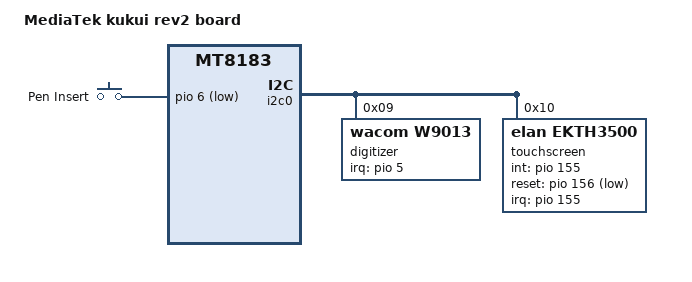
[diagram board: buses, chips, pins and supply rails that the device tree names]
// SPDX-License-Identifier: (GPL-2.0 OR MIT)
/*
 * Copyright (c) 2018 Google LLC
 */

/dts-v1/;
#include "mt8183-kukui.dtsi"

/ {
	model = "MediaTek kukui rev2 board";
	compatible = "google,kukui-rev2", "google,kukui", "mediatek,mt8183";

	gpio-keys {
		compatible = "gpio-keys";
		pinctrl-names = "default";
		pinctrl-0 = <&pen_eject>;

		pen-insert {
			label = "Pen Insert";
			/* Insert = low, eject = high */
			gpios = <&pio 6 GPIO_ACTIVE_LOW>;
			linux,code = <SW_PEN_INSERTED>;
			linux,input-type = <EV_SW>;
			wakeup-source;
		};
	};
};

&i2c0 {
	digitizer: digitizer@9 {
		compatible = "wacom,w9013", "hid-over-i2c";
		reg = <0x9>;
		pinctrl-names = "default";
		pinctrl-0 = <&pen_default>;

		interrupt-parent = <&pio>;
		interrupts = <5 IRQ_TYPE_LEVEL_LOW>;

		hid-descr-addr = <0x1>;
	};

	touchscreen: touchscreen@10 {
		compatible = "elan,ekth3500";
		reg = <0x10>;
		interrupt-parent = <&pio>;
		interrupts = <155 IRQ_TYPE_LEVEL_LOW>;
		int-gpio = <&pio 155 0>;
		pinctrl-names = "default";
		pinctrl-0 = <&touch_default>;

		reset-gpios = <&pio 156 1>;
	};
};

&pio {
	/* 192 lines */
	gpio-line-names =
		"SPI_AP_EC_CS_L",
		"SPI_AP_EC_MOSI",
		"SPI_AP_EC_CLK",
		"I2S3_DO",
		"USB_PD_INT_ODL",
		"",
		"",
		"",
		"",
		"IT6505_HPD_L",
		"I2S3_TDM_D3",
		"SOC_I2C6_1V8_SCL",
		"SOC_I2C6_1V8_SDA",
		"DPI_D0",
		"DPI_D1",
		"DPI_D2",
		"DPI_D3",
		"DPI_D4",
		"DPI_D5",
		"DPI_D6",
		"DPI_D7",
		"DPI_D8",
		"DPI_D9",
		"DPI_D10",
		"DPI_D11",
		"DPI_HSYNC",
		"DPI_VSYNC",
		"DPI_DE",
		"DPI_CK",
		"AP_MSDC1_CLK",
		"AP_MSDC1_DAT3",
		"AP_MSDC1_CMD",
		"AP_MSDC1_DAT0",
		"AP_MSDC1_DAT2",
		"AP_MSDC1_DAT1",
		"",
		"",
		"",
		"",
		"",
		"",
		"OTG_EN",
		"DRVBUS",
		"DISP_PWM",
		"DSI_TE",
		"LCM_RST_1V8",
		"AP_CTS_WIFI_RTS",
		"AP_RTS_WIFI_CTS",
		"SOC_I2C5_1V8_SCL",
		"SOC_I2C5_1V8_SDA",
		"SOC_I2C3_1V8_SCL",
		"SOC_I2C3_1V8_SDA",
		"",
		"",
		"",
		"",
		"",
		"",
		"",
		"",
		"",
		"",
		"",
		"",
		"",
		"",
		"",
		"",
		"",
		"",
		"",
		"",
		"",
		"",
		"",
		"",
		"",
		"",
		"",
		"",
		"",
		"SOC_I2C1_1V8_SDA",
		"SOC_I2C0_1V8_SDA",
		"SOC_I2C0_1V8_SCL",
		"SOC_I2C1_1V8_SCL",
		"AP_SPI_H1_MISO",
		"AP_SPI_H1_CS_L",
		"AP_SPI_H1_MOSI",
		"AP_SPI_H1_CLK",
		"I2S5_BCK",
		"I2S5_LRCK",
		"I2S5_DO",
		"BOOTBLOCK_EN_L",
		"MT8183_KPCOL0",
		"SPI_AP_EC_MISO",
		"UART_DBG_TX_AP_RX",
		"UART_AP_TX_DBG_RX",
		"I2S2_MCK",
		"I2S2_BCK",
		"CLK_5M_WCAM",
		"CLK_2M_UCAM",
		"I2S2_LRCK",
		"I2S2_DI",
		"SOC_I2C2_1V8_SCL",
		"SOC_I2C2_1V8_SDA",
		"SOC_I2C4_1V8_SCL",
		"SOC_I2C4_1V8_SDA",
		"",
		"SCL8",
		"SDA8",
		"FCAM_PWDN_L",
		"",
		"",
		"",
		"",
		"",
		"",
		"",
		"",
		"",
		"",
		"",
		"",
		"",
		"",
		"",
		"",
		"",
		"",
		"",
		"",
		"",
		"",
		"",
		"",
		"",
		"I2S_PMIC",
		"I2S_PMIC",
		"I2S_PMIC",
		"I2S_PMIC",
		"I2S_PMIC",
		"I2S_PMIC",
		"I2S_PMIC",
		"I2S_PMIC",
		"",
		"",
		"",
		"",
		"",
		"",
		/*
		 * AP_FLASH_WP_L is crossystem ABI. Rev1 schematics
		 * call it BIOS_FLASH_WP_R_L.
		 */
		"AP_FLASH_WP_L",
		"EC_AP_INT_ODL",
		"IT6505_INT_ODL",
		"H1_INT_OD_L",
		"",
		"",
		"",
		"",
		"",
		"",
		"",
		"AP_SPI_FLASH_MISO",
		"AP_SPI_FLASH_CS_L",
		"AP_SPI_FLASH_MOSI",
		"AP_SPI_FLASH_CLK",
		"DA7219_IRQ",
		"",
		"",
		"",
		"",
		"",
		"",
		"",
		"",
		"",
		"",
		"",
		"",
		"",
		"",
		"",
		"",
		"",
		"",
		"",
		"",
		"",
		"",
		"",
		"",
		"",
		"";

	pen_default: pendefault {
		pen_int_odl {
			pinmux = <PINMUX_GPIO5__FUNC_GPIO5>;
			input-enable;
			bias-pull-up;
		};

		pen_reset_odl {
			pinmux = <PINMUX_GPIO53__FUNC_GPIO53>;

			/*
			 * The pen driver doesn't currently support  driving
			 * this reset line.  By specifying output-high here
			 * we're relying on the fact that this pin has a default
			 * pulldown at boot (which makes sure the pen was in
			 * reset if it was powered) and then we set it high here
			 * to take it out of reset.  Better would be if the pen
			 * driver could control this and we could remove
			 * "output-high" here.
			 */
			output-high;
		};
	};

	pen_eject: peneject {
		pen_eject {
			pinmux = <PINMUX_GPIO6__FUNC_GPIO6>;
			input-enable;
			/* External pull-up. */
			bias-disable;
		};
	};

	touch_default: touchdefault {
		pin_irq {
			pinmux = <PINMUX_GPIO155__FUNC_GPIO155>;
			input-enable;
			bias-pull-up;
		};

		touch_pin_reset: pin_reset {
			pinmux = <PINMUX_GPIO156__FUNC_GPIO156>;
			output-low;
		};
	};
};
